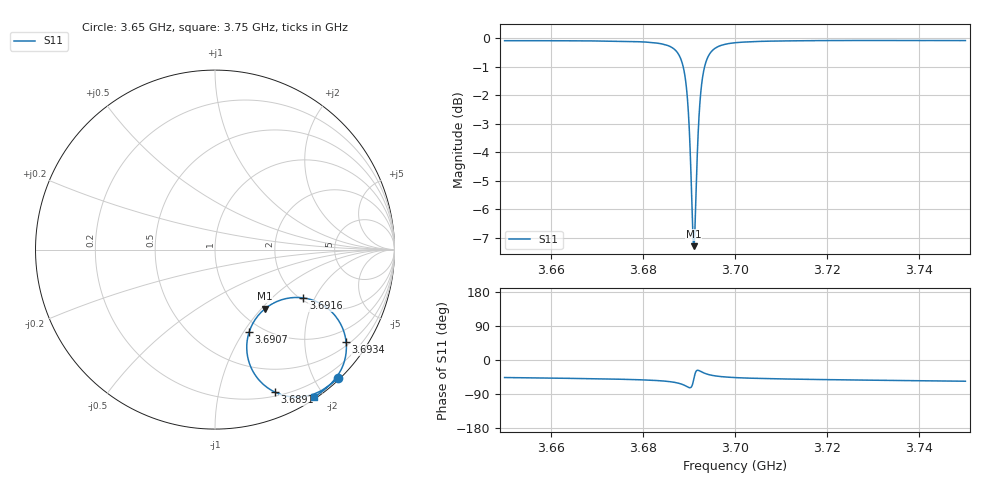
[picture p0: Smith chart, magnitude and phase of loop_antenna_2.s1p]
!Agilent Technologies,N5221A,MY51411109,A.09.90.13
!Agilent N5221A: A.09.90.13
!Date: Monday, May 10, 2021 23:00:28
!Correction: S11(Full 1 Port(1))
!S1P File: Measurement: S11:
# Hz S  RI  R 50
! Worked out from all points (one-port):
!   1601 points, 3.65 GHz to 3.75 GHz, reference 50 ohm
!   lowest |S11| = -7.3 dB at 3.6911 GHz (marker M1), VSWR 2.52, Z = 64.6 - j52.4 ohm
!   |S11| at or under -10 dB: nowhere
!   S11 on the Smith chart (normalised r, x): 3.65 GHz: 0.03, -2.34; 3.6891 GHz: 0.24, -1.47; 3.6907 GHz: 0.87, -1.06; 3.6916 GHz: 2.07, -1.63; 3.6934 GHz: 0.60, -3.05; 3.75 GHz: 0.02, -1.88
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3.65e9  0.6843 -0.7153
3.6625e9  0.6601 -0.7372
3.675e9  0.6251 -0.7647
3.680125e9  0.5994 -0.7815
3.6835e9  0.568 -0.7977
3.685875e9  0.5243 -0.8129
3.6875e9  0.4642 -0.8216
3.688375e9  0.4069 -0.8176
3.689125e9  0.3315 -0.7931
3.689562e9  0.2737 -0.7548
3.689938e9  0.2207 -0.694
3.690375e9  0.1784 -0.5742
3.690688e9  0.1901 -0.4594
3.691062e9  0.278 -0.33
3.691375e9  0.3963 -0.2728
3.691625e9  0.4923 -0.2692
3.692062e9  0.6187 -0.3205
3.692438e9  0.6801 -0.3826
3.692875e9  0.7151 -0.4488
3.693438e9  0.7305 -0.5146
3.694438e9  0.7284 -0.5892
3.69575e9  0.714 -0.643
3.6975e9  0.6961 -0.6815
3.7e9  0.6771 -0.7109
3.7125e9  0.6299 -0.7629
3.725e9  0.6018 -0.7868
3.7375e9  0.577 -0.8053
3.75e9  0.5537 -0.8212
